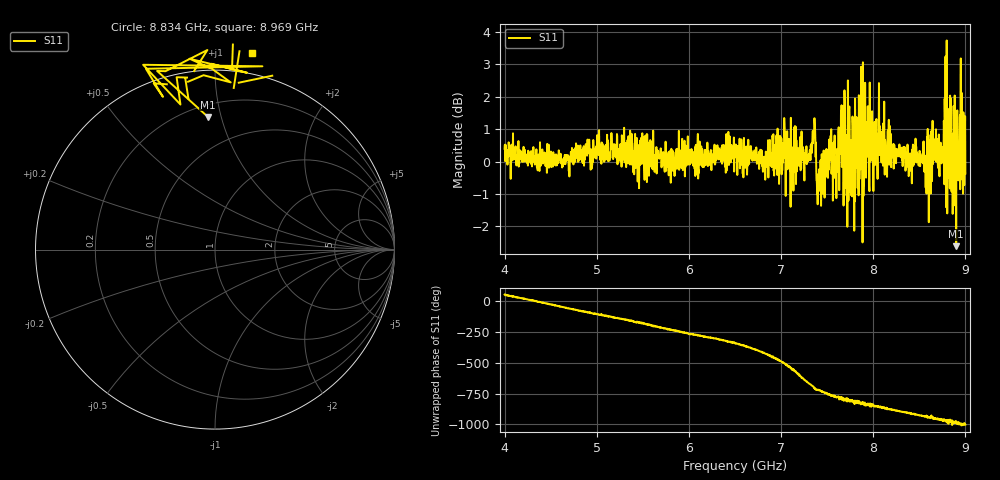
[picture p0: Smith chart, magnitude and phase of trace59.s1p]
! Created with skrf 1.8.0 (http://scikit-rf.org).
# Hz S RI R 50.0
!freq ReS11 ImS11
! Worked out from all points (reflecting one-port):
!   1601 points, 4 GHz to 9 GHz, reference 50 ohm
!   lowest |S11| = -2.6 dB at 8.9 GHz (marker M1), VSWR 6.71, Z = 13.9 + j45.4 ohm
!   phase of S11 starts at 51 deg and turns -1053 deg over the sweep
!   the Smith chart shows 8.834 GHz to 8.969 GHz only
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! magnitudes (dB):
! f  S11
! 4 GHz  0.4
! 4.625 GHz  -0.2
! 5.25 GHz  0.1
! 5.875 GHz  0.1
! 6.5 GHz  0.4
! 6.819 GHz  0.0
! 7.059 GHz  0.5
! 7.125 GHz  0.1
! 7.272 GHz  0.0
! 7.353 GHz  0.9
! 7.409 GHz  -0.9
! 7.519 GHz  -0.2
! 7.609 GHz  0.4
! 7.669 GHz  1.0
! 7.697 GHz  -0.4
! 7.75 GHz  0.2
! 7.775 GHz  1.4
! 7.856 GHz  -0.2
! 7.909 GHz  0.6
! 7.928 GHz  1.2
! 8.05 GHz  0.9
! 8.375 GHz  0.2
! 8.447 GHz  0.3
! 8.581 GHz  -0.1
! 8.8 GHz  0.4
! 8.9 GHz  -2.6
! 8.959 GHz  2.1
! 9 GHz  -0.4
